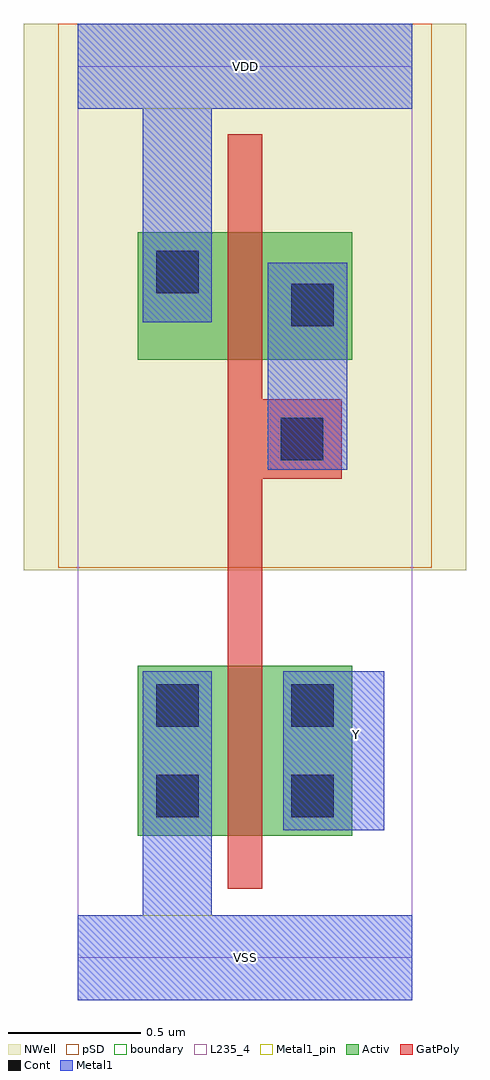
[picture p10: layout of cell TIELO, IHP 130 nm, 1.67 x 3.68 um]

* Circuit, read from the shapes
.subckt TIELO VDD VSS Y
XM1 Y n1 VSS VSUBS sg13_lv_nmos w=0.64u l=0.13u
XM2 n1 n1 VDD n2 sg13_lv_pmos w=0.48u l=0.13u
.ends

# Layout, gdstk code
import gdstk
lib = gdstk.Library(unit=1e-6, precision=1e-09)
def R(c, l, rs):  # rectangles x0, y0, x1, y1
    for r in rs: c.add(gdstk.rectangle(r[:2], r[2:], *l))
def P(c, l, *ps):  # polygons
    for p in ps: c.add(gdstk.Polygon(p, *l))
Activ = (1, 0)
GatPoly = (5, 0)
Cont = (6, 0)
Metal1 = (8, 0)
Metal1_pin = (8, 2)
pSD = (14, 0)
NWell = (31, 0)
boundary = (189, 4)
L235_4 = (235, 4)

tielo = lib.new_cell('TIELO')
R(tielo, Activ, [(0.225,0.46,1.035,1.1), (0.225,2.255,1.035,2.735)])
P(tielo, GatPoly, [(0.565,0.26),(0.565,3.105),(0.695,3.105),(0.695,2.105),(0.995,2.105),(0.995,1.805),(0.695,1.805),(0.695,0.26)])
R(tielo, Cont, [(0.295,0.53,0.455,0.69), (0.805,0.53,0.965,0.69), (0.295,0.87,0.455,1.03), (0.805,0.87,0.965,1.03), (0.765,1.875,0.925,2.035), (0.805,2.38,0.965,2.54), (0.295,2.505,0.455,2.665)])
R(tielo, Metal1, [(0.775,0.48,1.155,1.08), (0.715,1.84,1.015,2.62)])
P(tielo, Metal1, [(0,-0.16),(0,0.16),(0.245,0.16),(0.245,1.08),(0.505,1.08),(0.505,0.16),(1.26,0.16),(1.26,-0.16)],
  [(0.245,2.395),(0.245,3.2),(0,3.2),(0,3.52),(1.26,3.52),(1.26,3.2),(0.505,3.2),(0.505,2.395)])
R(tielo, Metal1_pin, [(0,-0.16,1.26,0.16), (0.775,0.48,1.155,1.08), (0,3.2,1.26,3.52)])
R(tielo, pSD, [(-0.075,1.47,1.335,3.52)])
R(tielo, NWell, [(-0.205,1.46,1.465,3.52)])
R(tielo, boundary, [(0,0,1.26,3.36)])
R(tielo, L235_4, [(0,0,1.26,3.36)])
tielo.add(gdstk.Label('Y', (1.05,0.84), layer=8, texttype=25))
tielo.add(gdstk.Label('VSS', (0.63,0), layer=8, texttype=25))
tielo.add(gdstk.Label('VDD', (0.63,3.36), layer=8, texttype=25))

lib.write_gds('TIELO.gds')
